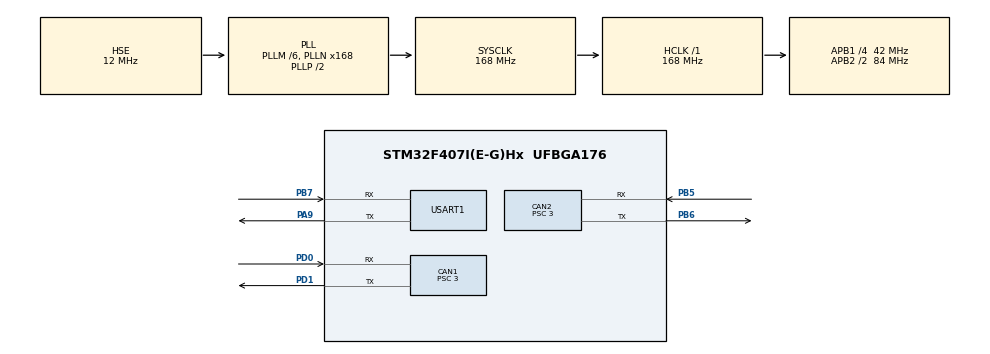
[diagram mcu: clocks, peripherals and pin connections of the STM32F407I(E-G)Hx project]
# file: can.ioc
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CAN1.BS1=CAN_BS1_10TQ
CAN1.BS2=CAN_BS2_3TQ
CAN1.CalculateTimeQuantum=71.42857142857143
CAN1.Prescaler=3
CAN2.BS1=CAN_BS1_10TQ
CAN2.BS2=CAN_BS2_3TQ
CAN2.CalculateTimeQuantum=71.42857142857143
CAN2.Prescaler=3
Dma.Request0=USART1_RX
Dma.Request1=USART1_TX
Dma.USART1_RX.0.Direction=DMA_PERIPH_TO_MEMORY
Dma.USART1_RX.0.FIFOMode=DMA_FIFOMODE_DISABLE
Dma.USART1_RX.0.Instance=DMA2_Stream2
Dma.USART1_RX.0.MemDataAlignment=DMA_MDATAALIGN_BYTE
Dma.USART1_RX.0.MemInc=DMA_MINC_ENABLE
Dma.USART1_RX.0.Mode=DMA_NORMAL
Dma.USART1_RX.0.PeriphDataAlignment=DMA_PDATAALIGN_BYTE
Dma.USART1_RX.0.PeriphInc=DMA_PINC_DISABLE
Dma.USART1_RX.0.Priority=DMA_PRIORITY_LOW
Dma.USART1_TX.1.Direction=DMA_MEMORY_TO_PERIPH
Dma.USART1_TX.1.FIFOMode=DMA_FIFOMODE_DISABLE
Dma.USART1_TX.1.Instance=DMA2_Stream7
Dma.USART1_TX.1.MemDataAlignment=DMA_MDATAALIGN_BYTE
Dma.USART1_TX.1.MemInc=DMA_MINC_ENABLE
Dma.USART1_TX.1.Mode=DMA_NORMAL
Dma.USART1_TX.1.PeriphDataAlignment=DMA_PDATAALIGN_BYTE
Dma.USART1_TX.1.PeriphInc=DMA_PINC_DISABLE
Dma.USART1_TX.1.Priority=DMA_PRIORITY_LOW
Mcu.Family=STM32F4
Mcu.Name=STM32F407I(E-G)Hx
Mcu.Package=UFBGA176
NVIC.CAN1_RX0_IRQn=true\:0\:0\:false\:false\:true\:true\:true\:true
NVIC.CAN2_RX0_IRQn=true\:0\:0\:false\:false\:true\:true\:true\:true
NVIC.DMA2_Stream2_IRQn=true\:0\:0\:false\:false\:true\:false\:true\:true
NVIC.DMA2_Stream7_IRQn=true\:0\:0\:false\:false\:true\:false\:true\:true
NVIC.PriorityGroup=NVIC_PRIORITYGROUP_4
NVIC.USART1_IRQn=true\:0\:0\:false\:false\:true\:true\:true\:true
PA13.Mode=Serial_Wire
PA13.Signal=SYS_JTMS-SWDIO
PA14.Mode=Serial_Wire
PA14.Signal=SYS_JTCK-SWCLK
PA9.Mode=Asynchronous
PA9.Signal=USART1_TX
PB5.Mode=Slave
PB5.Signal=CAN2_RX
PB6.Mode=Slave
PB6.Signal=CAN2_TX
PB7.Mode=Asynchronous
PB7.Signal=USART1_RX
PD0.Mode=Master
PD0.Signal=CAN1_RX
PD1.Mode=Master
PD1.Signal=CAN1_TX
PH0-OSC_IN.Mode=HSE-External-Oscillator
PH0-OSC_IN.Signal=RCC_OSC_IN
PH1-OSC_OUT.Mode=HSE-External-Oscillator
PH1-OSC_OUT.Signal=RCC_OSC_OUT
ProjectManager.HeapSize=0x200
ProjectManager.StackSize=0x400
ProjectManager.TargetToolchain=MDK-ARM V5
RCC.48MHZClocksFreq_Value=84000000
RCC.AHBFreq_Value=168000000
RCC.APB1CLKDivider=RCC_HCLK_DIV4
RCC.APB1Freq_Value=42000000
RCC.APB1TimFreq_Value=84000000
RCC.APB2CLKDivider=RCC_HCLK_DIV2
RCC.APB2Freq_Value=84000000
RCC.APB2TimFreq_Value=168000000
RCC.CortexFreq_Value=168000000
RCC.HCLKFreq_Value=168000000
RCC.HSE_VALUE=12000000
RCC.HSI_VALUE=16000000
RCC.LSE_VALUE=32768
RCC.PLLM=6
RCC.PLLN=168
RCC.PLLSourceVirtual=RCC_PLLSOURCE_HSE
RCC.SYSCLKFreq_VALUE=168000000
RCC.SYSCLKSource=RCC_SYSCLKSOURCE_PLLCLK
RCC.VCOOutputFreq_Value=336000000
USART1.VirtualMode=VM_ASYNC
board=custom

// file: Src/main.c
/* USER CODE BEGIN Header */
/**
  ******************************************************************************
  * @file           : main.c
  * @brief          : Main program body
  ******************************************************************************
  * @attention
  *
  * <h2><center>&copy; Copyright (c) 2019 STMicroelectronics.
  * All rights reserved.</center></h2>
  *
  * This software component is licensed by ST under BSD 3-Clause license,
  * the "License"; You may not use this file except in compliance with the
  * License. You may obtain a copy of the License at:
  *                        opensource.org/licenses/BSD-3-Clause
  *
  ******************************************************************************
  */
/* USER CODE END Header */

#include "main.h"
#include "can.h"
#include "dma.h"
#include "usart.h"
#include "gpio.h"

/* USER CODE BEGIN Includes */
#include <stdarg.h>
#include "stdio.h"
#include "string.h"
#include "pid.h"
#include "bsp_can.h"
#include "CAN_receive.h"
/* USER CODE END Includes */

/* USER CODE BEGIN PTD */
int16_t myspeed_rpm1;
int16_t mygiven_current1;
int16_t myspeed_rpm2;
int16_t mygiven_current2;

fp32 motor1_speed,motor2_speed;

pid_type_def motor_pid_data;

uint8_t input[10];

float SET_SPEED = 0.15f;

int16_t values[6];
const float FACTOR_ADC = 0.80586;
//移动平均值滤波算法
#define WINDOW_SIZE 5
int16_t moving_average_filter(int16_t new_data)
{
    static int16_t window[WINDOW_SIZE] = {0};
    static int index = 0;
    int32_t sum = 0;

    // 将新的数据点添加到窗口中
    window[index] = new_data;

    // 计算窗口内所有数据点的和
    for (int i = 0; i < WINDOW_SIZE; i++) {
        sum += window[i];
    }
    // 更新窗口索引
    index = (index + 1) % WINDOW_SIZE;
    // 返回平均值
    return (int16_t)(sum / WINDOW_SIZE);
}

//中值滤波算法
int16_t median_filter(int16_t new_data)
{
    static int16_t window[WINDOW_SIZE] = {0};
    static int index = 0;
    // 将新的数据点添加到窗口中
    window[index] = new_data;
    // 对窗口内的数据点进行排序
    for (int i = 0; i < WINDOW_SIZE - 1; i++) {
        for (int j = i + 1; j < WINDOW_SIZE; j++) {
            if (window[j] < window[i]) {
                // 交换数据点位置
                int16_t temp = window[i];
                window[i] = window[j];
                window[j] = temp;
            }
        }
    }
    // 更新窗口索引
    index = (index + 1) % WINDOW_SIZE;
    // 返回中间值
    return window[WINDOW_SIZE / 2];
}

//无限脉冲响应滤波
//慢慢变小，但是永远不会消失，就是无限冲激响应
#define FILTER_ORDER 2
typedef struct {
    float b[FILTER_ORDER + 1];
    float a[FILTER_ORDER + 1];
    float x[FILTER_ORDER + 1];
    float y[FILTER_ORDER + 1];
} IIRFilter;
void iir_filter_init(IIRFilter* filter)
{
    // 初始化滤波器系数
    filter->b[0] = 0.5;
    filter->b[1] = 0.3;
    filter->b[2] = 0.2;

    filter->a[0] = 1.0;
    filter->a[1] = -0.5;
    filter->a[2] = 0.1;
    // 初始化输入和输出缓冲区
    for (int i = 0; i <= FILTER_ORDER; i++) {
        filter->x[i] = 0.0;
        filter->y[i] = 0.0;
    }
}
float iir_filter_process(IIRFilter* filter, float input)
{
    // 更新输入缓冲区
    for (int i = FILTER_ORDER; i > 0; i--) {
        filter->x[i] = filter->x[i - 1];
    }
    filter->x[0] = input;
    // 计算输出
    float output = 0.0;
    for (int i = 0; i <= FILTER_ORDER; i++) {
        output += filter->b[i] * filter->x[i];
    }
    for (int i = 1; i <= FILTER_ORDER; i++) {
        output -= filter->a[i] * filter->y[i];
    }
    // 更新输出缓冲区
    for (int i = FILTER_ORDER; i > 0; i--) {
        filter->y[i] = filter->y[i - 1];
    }
    filter->y[0] = output;
    return output;
}

//有限脉冲响应滤波
typedef struct {
    float h[FILTER_ORDER + 2];
    float x[FILTER_ORDER + 1];
} FIRFilter;
void fir_filter_init(FIRFilter* filter)
{
    // 初始化滤波器系数
    filter->h[0] = 0.1;
    filter->h[1] = 0.2;
    filter->h[2] = 0.3;
    filter->h[3] = 0.2;
    // 初始化输入缓冲区
    for (int i = 0; i <= FILTER_ORDER; i++) {
        filter->x[i] = 0.0;
    }
}
float fir_filter_process(FIRFilter* filter, float input)
{
    // 更新输入缓冲区
    for (int i = FILTER_ORDER; i > 0; i--) {
        filter->x[i] = filter->x[i - 1];
    }
    filter->x[0] = input;
    // 计算输出
    float output = 0.0;
    for (int i = 0; i <= FILTER_ORDER; i++) {
        output += filter->h[i] * filter->x[i];
    }
    return output;
}

//卡尔曼滤波算法
typedef struct {
    float x; // 状态变量
    float P; // 状态协方差
    float Q; // 系统噪声协方差
    float R; // 测量噪声协方差
} KalmanFilter;
void kalman_filter_init(KalmanFilter* filter, float initial_state_variance, float system_noise_variance, float measurement_noise_variance)
{
    filter->x = 0.0;
    filter->P = initial_state_variance;
    filter->Q = system_noise_variance;
    filter->R = measurement_noise_variance;
}
float kalman_filter_process(KalmanFilter* filter, float measurement)
{
    // 预测步骤
    float x_pred = filter->x;
    float P_pred = filter->P + filter->Q;
    // 更新步骤
    float K = P_pred / (P_pred + filter->R);
    filter->x = x_pred + K * (measurement - x_pred);
    filter->P = (1.0 - K) * P_pred;
    return filter->x;
}

IIRFilter filter;
FIRFilter filter3;
KalmanFilter filter2;

void usart_printf(const char *fmt,...)
{
    static uint8_t tx_buf[256] = {0};
    static va_list ap;
    static uint16_t len;
    va_start(ap, fmt);
    len = vsprintf((char *)tx_buf, fmt, ap);
    va_end(ap);
    //usart1_tx_dma_enable(tx_buf, len);
    HAL_UART_Transmit_DMA(&huart1,tx_buf, len);
}

//发送六轴数据到串口
#define MAX_LENGTH 100
void send_values_to_serial(int16_t *value,int n)
{
    char result[MAX_LENGTH];
    char temp_str[MAX_LENGTH];
    int i;
    // 清空结果字符串
    result[0] = '\0';
    for (i = 0; i < n; i++) {
        // 将带符号的 uint16_t 数值转换为字符串
        sprintf(temp_str, "%+d", value[i]);
        // 拼接逗号和当前值的字符串
        strcat(result, temp_str);
        strcat(result, ",");
    }
    // 去除最后一个逗号
    result[strlen(result) - 1] = '\0';
    // 发送字符串到串口，这里只是一个示例
    usart_printf("%s\n", result);
}

void HAL_UART_RxCpltCallback(UART_HandleTypeDef *huart) {
    if (huart == &huart1) {
        // 解析输入数据
        uint8_t command = input[0] - '0';
        uint16_t value = (input[1] - '0') * 1000 + (input[2] - '0') * 10 + (input[3] - '0') * 10 + (input[4] - '0');

        // 根据输入数据设置参数
        switch (command) {
            case 0:
				SET_SPEED = ((float)value/100);
			break;

            case 1:
				//usart_printf("%d\n",value);
				filter2.P = value/10;
			break;

            case 2:
				//usart_printf("%d\n",value);
				filter2.Q = value/10;
			break;

            case 3:
				filter2.R = value/10;
			break;

            default:
                break;
        }
		usart_printf("%d",command);
		usart_printf("%d\n",value);
        // 开始下一次数据接收
        HAL_UART_Receive_DMA(&huart1, input, 5);
    }
}
/* USER CODE END PTD */

void SystemClock_Config(void);

int main(void)
{
  /* USER CODE BEGIN 1 */
    kalman_filter_init(&filter2, 1.0, 0.1, 300);
  /* USER CODE END 1 */

  /* MCU Configuration--------------------------------------------------------*/

  /* Reset of all peripherals, Initializes the Flash interface and the Systick. */
  HAL_Init();

  /* Configure the system clock */
  SystemClock_Config();

  /* Initialize all configured peripherals */
  MX_GPIO_Init();
  MX_DMA_Init();
  MX_CAN1_Init();
  MX_CAN2_Init();
  MX_USART1_UART_Init();
  /* USER CODE BEGIN 2 */
	iir_filter_init(&filter);
	fir_filter_init(&filter3);

  can_filter_init();
  #define KP 3600
  #define KI 0
  #define KD 1600
  #define MAX_OUT 2000.0f
  #define MAX_IOUT 100

  #define CHASSIS_MOTOR_RPM_TO_VECTOR_SEN 0.000415809748903494517209f

  fp32 motor1_speed,motor2_speed;
  uint16_t postion;

  fp32 pid[3]= {KP,KI,KD};
  PID_init(&motor_pid_data,1,pid,MAX_OUT,MAX_IOUT);

  HAL_UART_Receive_DMA(&huart1, input, 5);
  usart_printf("start");
  /* USER CODE END 2 */

  /* Infinite loop */
  while (1)
  {

    /* USER CODE BEGIN 3 */
	    motor1_speed = motor_chassis[0].speed_rpm*CHASSIS_MOTOR_RPM_TO_VECTOR_SEN;
	    motor2_speed = motor_chassis[1].speed_rpm*CHASSIS_MOTOR_RPM_TO_VECTOR_SEN;

	    mygiven_current1 = PID_calc(&motor_pid_data,motor1_speed,SET_SPEED);
		mygiven_current2 = PID_calc(&motor_pid_data,motor2_speed,SET_SPEED);

	    postion = motor_chassis[1].ecd;

	  values[0] = motor2_speed*1000;//原数据
	  values[1] = moving_average_filter(values[0]);//平均值滤波
	  values[2] = median_filter(values[0]);//中值滤波
	  values[3] = iir_filter_process(&filter, (float)values[0]);//无限脉冲响应滤波
	  values[4] = fir_filter_process(&filter3, values[0]);//有限脉冲响应滤波
	  values[5] = kalman_filter_process(&filter2, values[0]);//卡尔曼滤波

	  send_values_to_serial(values,6);

        CAN_cmd_chassis(mygiven_current2, mygiven_current2, 0, 0);
        //CAN_cmd_chassis(0, 0, 0, 0);

        HAL_Delay(2);
  }
  /* USER CODE END 3 */
}

void SystemClock_Config(void)
{
  RCC_OscInitTypeDef RCC_OscInitStruct = {0};
  RCC_ClkInitTypeDef RCC_ClkInitStruct = {0};

  /** Configure the main internal regulator output voltage
  */
  __HAL_RCC_PWR_CLK_ENABLE();
  __HAL_PWR_VOLTAGESCALING_CONFIG(PWR_REGULATOR_VOLTAGE_SCALE1);
  /** Initializes the CPU, AHB and APB busses clocks
  */
  RCC_OscInitStruct.OscillatorType = RCC_OSCILLATORTYPE_HSE;
  RCC_OscInitStruct.HSEState = RCC_HSE_ON;
  RCC_OscInitStruct.PLL.PLLState = RCC_PLL_ON;
  RCC_OscInitStruct.PLL.PLLSource = RCC_PLLSOURCE_HSE;
  RCC_OscInitStruct.PLL.PLLM = 6;
  RCC_OscInitStruct.PLL.PLLN = 168;
  RCC_OscInitStruct.PLL.PLLP = RCC_PLLP_DIV2;
  RCC_OscInitStruct.PLL.PLLQ = 4;
  if (HAL_RCC_OscConfig(&RCC_OscInitStruct) != HAL_OK)
  {
    Error_Handler();
  }
  /** Initializes the CPU, AHB and APB busses clocks
  */
  RCC_ClkInitStruct.ClockType = RCC_CLOCKTYPE_HCLK|RCC_CLOCKTYPE_SYSCLK
                              |RCC_CLOCKTYPE_PCLK1|RCC_CLOCKTYPE_PCLK2;
  RCC_ClkInitStruct.SYSCLKSource = RCC_SYSCLKSOURCE_PLLCLK;
  RCC_ClkInitStruct.AHBCLKDivider = RCC_SYSCLK_DIV1;
  RCC_ClkInitStruct.APB1CLKDivider = RCC_HCLK_DIV4;
  RCC_ClkInitStruct.APB2CLKDivider = RCC_HCLK_DIV2;

  if (HAL_RCC_ClockConfig(&RCC_ClkInitStruct, FLASH_LATENCY_5) != HAL_OK)
  {
    Error_Handler();
  }
}

void Error_Handler(void)
{
}

/************************ (C) COPYRIGHT STMicroelectronics *****END OF FILE****/
